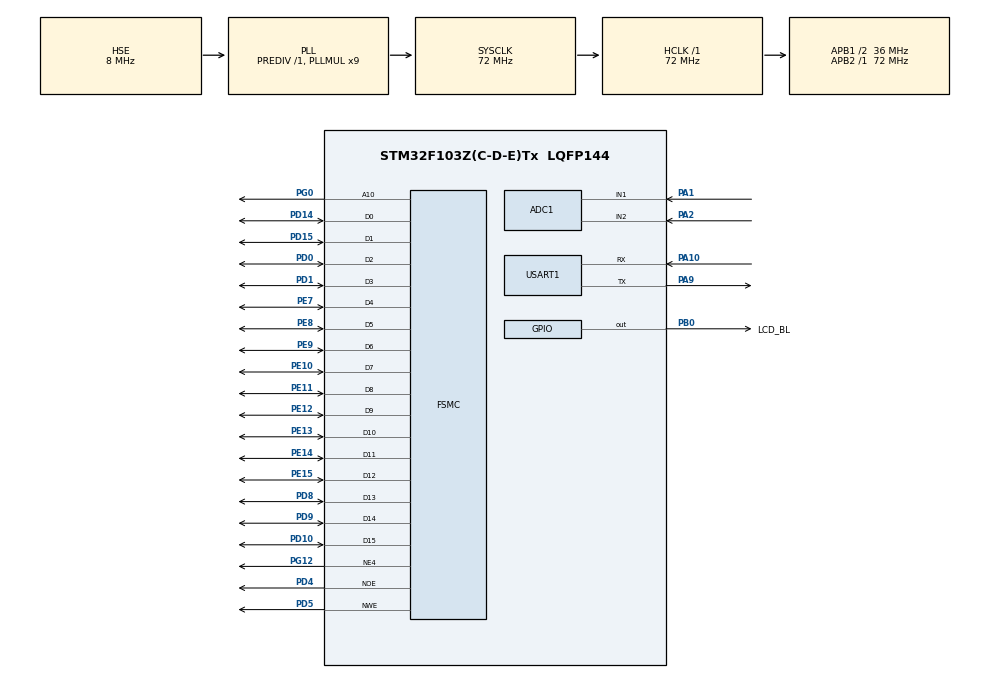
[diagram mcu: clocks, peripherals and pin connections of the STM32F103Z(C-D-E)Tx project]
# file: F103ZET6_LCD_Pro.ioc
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ADC1.Channel-3\#ChannelRegularConversion=ADC_CHANNEL_1
ADC1.Channel-4\#ChannelRegularConversion=ADC_CHANNEL_2
ADC1.ContinuousConvMode=ENABLE
ADC1.NbrOfConversion=2
ADC1.NbrOfConversionFlag=1
ADC1.Rank-3\#ChannelRegularConversion=1
ADC1.Rank-4\#ChannelRegularConversion=2
ADC1.SamplingTime-3\#ChannelRegularConversion=ADC_SAMPLETIME_1CYCLE_5
ADC1.SamplingTime-4\#ChannelRegularConversion=ADC_SAMPLETIME_1CYCLE_5
ADC1.master=1
Dma.ADC1.1.Direction=DMA_PERIPH_TO_MEMORY
Dma.ADC1.1.Instance=DMA1_Channel1
Dma.ADC1.1.MemDataAlignment=DMA_MDATAALIGN_HALFWORD
Dma.ADC1.1.MemInc=DMA_MINC_ENABLE
Dma.ADC1.1.Mode=DMA_NORMAL
Dma.ADC1.1.PeriphDataAlignment=DMA_PDATAALIGN_HALFWORD
Dma.ADC1.1.PeriphInc=DMA_PINC_DISABLE
Dma.ADC1.1.Priority=DMA_PRIORITY_LOW
Dma.Request0=USART1_RX
Dma.Request1=ADC1
Dma.USART1_RX.0.Direction=DMA_PERIPH_TO_MEMORY
Dma.USART1_RX.0.Instance=DMA1_Channel5
Dma.USART1_RX.0.MemDataAlignment=DMA_MDATAALIGN_BYTE
Dma.USART1_RX.0.MemInc=DMA_MINC_ENABLE
Dma.USART1_RX.0.Mode=DMA_NORMAL
Dma.USART1_RX.0.PeriphDataAlignment=DMA_PDATAALIGN_BYTE
Dma.USART1_RX.0.PeriphInc=DMA_PINC_DISABLE
Dma.USART1_RX.0.Priority=DMA_PRIORITY_LOW
FSMC.AddressSetupTime1=1
FSMC.BusTurnAroundDuration1=0
FSMC.DataSetupTime1=0xf
FSMC.ExtendedAddressSetupTime1=0
FSMC.ExtendedBusTurnAroundDuration1=0
FSMC.ExtendedDataSetupTime1=3
FSMC.ExtendedMode1=FSMC_EXTENDED_MODE_ENABLE
FSMC.WriteOperation1=FSMC_WRITE_OPERATION_ENABLE
Mcu.Family=STM32F1
Mcu.Name=STM32F103Z(C-D-E)Tx
Mcu.Package=LQFP144
NVIC.ADC1_2_IRQn=true\:0\:0\:false\:false\:true\:true\:true
NVIC.DMA1_Channel1_IRQn=true\:0\:0\:false\:false\:true\:false\:true
NVIC.DMA1_Channel5_IRQn=true\:3\:0\:true\:false\:true\:false\:true
NVIC.PriorityGroup=NVIC_PRIORITYGROUP_2
NVIC.USART1_IRQn=true\:2\:0\:true\:false\:true\:true\:true
OSC_IN.Mode=HSE-External-Oscillator
OSC_IN.Signal=RCC_OSC_IN
OSC_OUT.Mode=HSE-External-Oscillator
OSC_OUT.Signal=RCC_OSC_OUT
PA0-WKUP.Mode=SYS_WakeUp0
PA0-WKUP.Signal=SYS_WKUP
PA1.Signal=ADCx_IN1
PA10.Mode=Asynchronous
PA10.Signal=USART1_RX
PA13.Mode=JTAG_5_pins
PA13.Signal=SYS_JTMS-SWDIO
PA14.Mode=JTAG_5_pins
PA14.Signal=SYS_JTCK-SWCLK
PA15.Mode=JTAG_5_pins
PA15.Signal=SYS_JTDI
PA2.Signal=ADCx_IN2
PA9.Mode=Asynchronous
PA9.Signal=USART1_TX
PB0.GPIO_Label=LCD_BL
PB0.GPIO_Speed=GPIO_SPEED_FREQ_HIGH
PB0.Signal=GPIO_Output
PB3.Mode=JTAG_5_pins
PB3.Signal=SYS_JTDO-TRACESWO
PB4.Mode=JTAG_5_pins
PB4.Signal=SYS_NJTRST
PC14-OSC32_IN.Mode=LSE-External-Oscillator
PC14-OSC32_IN.Signal=RCC_OSC32_IN
PC15-OSC32_OUT.Mode=LSE-External-Oscillator
PC15-OSC32_OUT.Signal=RCC_OSC32_OUT
PD0.Signal=FSMC_D2_DA2
PD1.Signal=FSMC_D3_DA3
PD10.Signal=FSMC_D15_DA15
PD14.Signal=FSMC_D0_DA0
PD15.Signal=FSMC_D1_DA1
PD4.Signal=FSMC_NOE
PD5.Signal=FSMC_NWE
PD8.Signal=FSMC_D13_DA13
PD9.Signal=FSMC_D14_DA14
PE10.Signal=FSMC_D7_DA7
PE11.Signal=FSMC_D8_DA8
PE12.Signal=FSMC_D9_DA9
PE13.Signal=FSMC_D10_DA10
PE14.Signal=FSMC_D11_DA11
PE15.Signal=FSMC_D12_DA12
PE7.Signal=FSMC_D4_DA4
PE8.Signal=FSMC_D5_DA5
PE9.Signal=FSMC_D6_DA6
PG0.Signal=FSMC_A10
PG12.Mode=NorPsramChipSelect4_1
PG12.Signal=FSMC_NE4
ProjectManager.HeapSize=0x200
ProjectManager.StackSize=0x400
ProjectManager.TargetToolchain=MDK-ARM V5.27
RCC.ADCPresc=RCC_ADCPCLK2_DIV6
RCC.AHBFreq_Value=72000000
RCC.APB1CLKDivider=RCC_HCLK_DIV2
RCC.APB1Freq_Value=36000000
RCC.APB1TimFreq_Value=72000000
RCC.APB2Freq_Value=72000000
RCC.APB2TimFreq_Value=72000000
RCC.HCLKFreq_Value=72000000
RCC.PLLMUL=RCC_PLL_MUL9
RCC.PLLSourceVirtual=RCC_PLLSOURCE_HSE
RCC.SYSCLKFreq_VALUE=72000000
RCC.SYSCLKSource=RCC_SYSCLKSOURCE_PLLCLK
RCC.USBFreq_Value=72000000
SH.ADCx_IN1.0=ADC1_IN1,IN1
SH.ADCx_IN2.0=ADC1_IN2,IN2
SH.FSMC_A10.0=FSMC_A10,A10_1
SH.FSMC_D0_DA0.0=FSMC_D0,16b-d1
SH.FSMC_D10_DA10.0=FSMC_D10,16b-d1
SH.FSMC_D11_DA11.0=FSMC_D11,16b-d1
SH.FSMC_D12_DA12.0=FSMC_D12,16b-d1
SH.FSMC_D13_DA13.0=FSMC_D13,16b-d1
SH.FSMC_D14_DA14.0=FSMC_D14,16b-d1
SH.FSMC_D15_DA15.0=FSMC_D15,16b-d1
SH.FSMC_D1_DA1.0=FSMC_D1,16b-d1
SH.FSMC_D2_DA2.0=FSMC_D2,16b-d1
SH.FSMC_D3_DA3.0=FSMC_D3,16b-d1
SH.FSMC_D4_DA4.0=FSMC_D4,16b-d1
SH.FSMC_D5_DA5.0=FSMC_D5,16b-d1
SH.FSMC_D6_DA6.0=FSMC_D6,16b-d1
SH.FSMC_D7_DA7.0=FSMC_D7,16b-d1
SH.FSMC_D8_DA8.0=FSMC_D8,16b-d1
SH.FSMC_D9_DA9.0=FSMC_D9,16b-d1
SH.FSMC_NOE.0=FSMC_NOE,Lcd1
SH.FSMC_NWE.0=FSMC_NWE,Lcd1
USART1.VirtualMode=VM_ASYNC
board=custom

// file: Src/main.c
/* USER CODE BEGIN Header */
/**
  ******************************************************************************
  * @file           : main.c
  * @brief          : Main program body
  ******************************************************************************
  * @attention
  *
  * <h2><center>&copy; Copyright (c) 2020 STMicroelectronics.
  * All rights reserved.</center></h2>
  *
  * This software component is licensed by ST under BSD 3-Clause license,
  * the "License"; You may not use this file except in compliance with the
  * License. You may obtain a copy of the License at:
  *                        opensource.org/licenses/BSD-3-Clause
  *
  ******************************************************************************
  */
/* USER CODE END Header */

#include "main.h"
#include "adc.h"
#include "dma.h"
#include "usart.h"
#include "gpio.h"
#include "fsmc.h"

/* USER CODE BEGIN Includes */
#include "lcd.h"
#include "stdlib.h"
#include "delay.h"
#include "string.h"
#include "snake.h"

/* USER CODE END Includes */

void SystemClock_Config(void);

int main(void)
{

  /* MCU Configuration--------------------------------------------------------*/

  /* Reset of all peripherals, Initializes the Flash interface and the Systick. */
  HAL_Init();

  /* Configure the system clock */
  SystemClock_Config();

  /* Initialize all configured peripherals */
  MX_GPIO_Init();
  MX_DMA_Init();
  MX_FSMC_Init();
  MX_USART1_UART_Init();
  MX_ADC1_Init();
  /* USER CODE BEGIN 2 */
  LCD_Init();

  LCD_BorderShow();
  Score_Init(MAX_EATEN_CNT);
  SnakeList_Init();
  /*
  __HAL_UART_ENABLE_IT(&huart1, UART_IT_IDLE);
  HAL_UART_Receive_DMA(&huart1, Get_pMacUartRxBuf()->Frame_Data, MAC_Data_Len*3);
  */

  /* USER CODE END 2 */

  /* Infinite loop */
  /* USER CODE BEGIN WHILE */
  uint8_t dir = DIR_NONE;
  uint16_t time = 500;

  LCD_ShowString(10, 90, 200, FONT_SIZE_16, "UP: HARD");
  LCD_ShowString(10, 130, 200, FONT_SIZE_16, "LEFT/RIGHT: MEDIUM");
  LCD_ShowString(10, 170, 200, FONT_SIZE_16, "DOWN: EASY");
  #if 0
    while(dir == DIR_NONE)
    {
        dir = Snake_Direction_Input();
        switch(dir)
        {
            case DIR_UP:
                time = 90;
                break;
            case DIR_LEFT:
            case DIR_RIGHT:
                time = 180;
               break;
            case DIR_DOWN:
                time = 300;
                break;
            default:
                break;
        }
    }
	#endif
    LCD_ShowString(10, 90, 200, FONT_SIZE_16, "                  ");
    LCD_ShowString(10, 130, 200, FONT_SIZE_16, "                  ");
    LCD_ShowString(10, 170, 200, FONT_SIZE_16, "                  ");
  while (1)
  {
    LCD_Color_Fill(30, 50,200,100,BLACK);

    //LCD_ShowString(30, 40, strlen("WarShip STM32 ^_^")*(24/2), FONT_SIZE_24, "WarShip STM32 ^_^");
    //LCD_ShowString(30, 70, 11*(16/2), FONT_SIZE_16, "TFTLCD TEST");
    //LCD_ShowString(30, 90, 200, FONT_SIZE_16, "ATOM@ALIENTEK");
    //LCD_ShowString(30, 130, 200, FONT_SIZE_12, "2014/5/4");

      //Game_Running(SnakeList);

      delay_ms(time);

    /* USER CODE END WHILE */

  }
}

void SystemClock_Config(void)
{
  RCC_OscInitTypeDef RCC_OscInitStruct = {0};
  RCC_ClkInitTypeDef RCC_ClkInitStruct = {0};
  RCC_PeriphCLKInitTypeDef PeriphClkInit = {0};

  /** Initializes the CPU, AHB and APB busses clocks
  */
  RCC_OscInitStruct.OscillatorType = RCC_OSCILLATORTYPE_HSE;
  RCC_OscInitStruct.HSEState = RCC_HSE_ON;
  RCC_OscInitStruct.HSEPredivValue = RCC_HSE_PREDIV_DIV1;
  RCC_OscInitStruct.HSIState = RCC_HSI_ON;
  RCC_OscInitStruct.PLL.PLLState = RCC_PLL_ON;
  RCC_OscInitStruct.PLL.PLLSource = RCC_PLLSOURCE_HSE;
  RCC_OscInitStruct.PLL.PLLMUL = RCC_PLL_MUL9;
  if (HAL_RCC_OscConfig(&RCC_OscInitStruct) != HAL_OK)
  {
    Error_Handler();
  }
  /** Initializes the CPU, AHB and APB busses clocks
  */
  RCC_ClkInitStruct.ClockType = RCC_CLOCKTYPE_HCLK|RCC_CLOCKTYPE_SYSCLK
                              |RCC_CLOCKTYPE_PCLK1|RCC_CLOCKTYPE_PCLK2;
  RCC_ClkInitStruct.SYSCLKSource = RCC_SYSCLKSOURCE_PLLCLK;
  RCC_ClkInitStruct.AHBCLKDivider = RCC_SYSCLK_DIV1;
  RCC_ClkInitStruct.APB1CLKDivider = RCC_HCLK_DIV2;
  RCC_ClkInitStruct.APB2CLKDivider = RCC_HCLK_DIV1;

  if (HAL_RCC_ClockConfig(&RCC_ClkInitStruct, FLASH_LATENCY_2) != HAL_OK)
  {
    Error_Handler();
  }
  PeriphClkInit.PeriphClockSelection = RCC_PERIPHCLK_ADC;
  PeriphClkInit.AdcClockSelection = RCC_ADCPCLK2_DIV6;
  if (HAL_RCCEx_PeriphCLKConfig(&PeriphClkInit) != HAL_OK)
  {
    Error_Handler();
  }
}

void Error_Handler(void)
{
}

/************************ (C) COPYRIGHT STMicroelectronics *****END OF FILE****/
